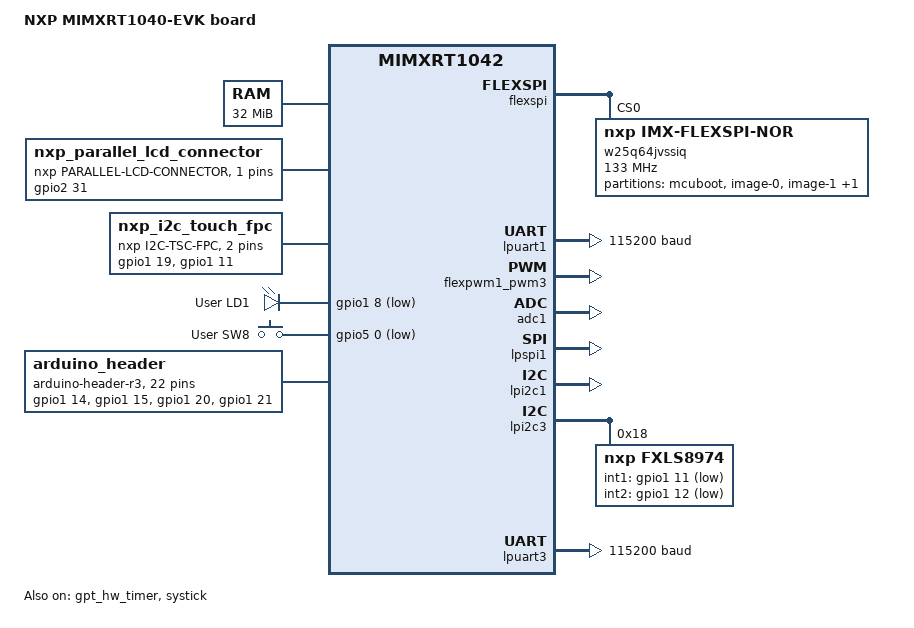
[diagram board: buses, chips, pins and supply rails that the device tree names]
/*
 * Copyright 2023 NXP
 *
 * SPDX-License-Identifier: Apache-2.0
 */

/dts-v1/;

#include <nxp/nxp_rt1040.dtsi>
#include "mimxrt1040_evk-pinctrl.dtsi"
#include <zephyr/dt-bindings/input/input-event-codes.h>

/ {
	model = "NXP MIMXRT1040-EVK board";
	compatible = "nxp,mimxrt1042";

	aliases {
		led0 = &green_led;
		sw0 = &user_button;
		pwm-0 = &flexpwm1_pwm3;
	};

	chosen {
		zephyr,sram = &sdram0;
		zephyr,itcm = &itcm;
		zephyr,dtcm = &dtcm;
		zephyr,console = &lpuart1;
		zephyr,shell-uart = &lpuart1;
		zephyr,flash = &w25q64jvssiq;
		zephyr,flash-controller = &w25q64jvssiq;
		zephyr,code-partition = &slot0_partition;
		zephyr,bt-hci = &bt_hci_uart;
	};

	sdram0: memory@80000000 {
		/* Winbond W9825G6KH SDRAM */
		device_type = "memory";
		reg = <0x80000000 DT_SIZE_M(32)>;
	};

	/*
	 * This node describes the GPIO pins of the parallel FPC interface,
	 * This interface is standard to several NXP EVKs, and is used with
	 * several parallel LCD displays (available as zephyr shields)
	 */
	nxp_parallel_lcd_connector: parallel-connector {
		compatible = "nxp,parallel-lcd-connector";
		#gpio-cells = <2>;
		gpio-map-mask = <0xffffffff 0xffffffc0>;
		gpio-map-pass-thru = <0 0x3f>;
		gpio-map =	<0  0 &gpio2 31 0>;	/* Pin 1, BL+ */
	};

	/*
	 * This node describes the GPIO pins of the I2C display FPC interface,
	 * This interface is standard to several NXP EVKs, and is used with
	 * several parallel LCD displays (available as zephyr shields)
	 */
	nxp_i2c_touch_fpc: i2c-touch-connector {
		compatible = "nxp,i2c-tsc-fpc";
		#gpio-cells = <2>;
		gpio-map-mask = <0xffffffff 0xffffffc0>;
		gpio-map-pass-thru = <0 0x3f>;
		gpio-map =	<1  0 &gpio1 19 0>,	/* Pin 2, LCD touch RST */
				<2  0 &gpio1 11 0>;	/* Pin 3, LCD touch INT */
	};

	leds {
		compatible = "gpio-leds";
		green_led: led_0 {
			gpios = <&gpio1 8 GPIO_ACTIVE_LOW>;
			label = "User LD1";
		};
	};

	gpio_keys {
		compatible = "gpio-keys";
		user_button: button_0 {
			label = "User SW8";
			gpios = <&gpio5 0 (GPIO_PULL_UP | GPIO_ACTIVE_LOW)>;
			zephyr,code = <INPUT_KEY_0>;
		};
	};

	arduino_header: connector {
		compatible = "arduino-header-r3";
		#gpio-cells = <2>;
		gpio-map-mask = <0xffffffff 0xffffffc0>;
		gpio-map-pass-thru = <0 0x3f>;
		gpio-map = <0 0 &gpio1 14 0>,	/* A0 */
			   <1 0 &gpio1 15 0>,	/* A1 */
			   <2 0 &gpio1 20 0>,	/* A2 */
			   <3 0 &gpio1 21 0>,	/* A3 */
			   <4 0 &gpio1 22 0>,	/* A4 */
			   <5 0 &gpio1 23 0>,	/* A5 */
			   <6 0 &gpio3 1 0>,	/* D0 */
			   <7 0 &gpio3 0 0>,	/* D1 */
			   <8 0 &gpio1 11 0>,	/* D2 */
			   <9 0 &gpio3 2 0>,	/* D3 */
			   <10 0 &gpio1 9 0>,	/* D4 */
			   <11 0 &gpio1 10 0>,	/* D5 */
			   <12 0 &gpio1 18 0>,	/* D6 */
			   <13 0 &gpio1 19 0>,	/* D7 */
			   <14 0 &gpio2 30 0>,	/* D8 */
			   <15 0 &gpio2 31 0>,	/* D9 */
			   <16 0 &gpio3 13 0>,	/* D10 */
			   <17 0 &gpio3 14 0>,	/* D11 */
			   <18 0 &gpio3 15 0>,	/* D12 */
			   <19 0 &gpio3 12 0>,	/* D13 */
			   <20 0 &gpio1 17 0>,	/* D14 */
			   <21 0 &gpio1 16 0>;	/* D15 */
	};
};

&flexspi {
	status = "okay";
	reg = <0x402a8000 0x4000>, <0x60000000 DT_SIZE_M(8)>;
	/* Winbond external flash */
	w25q64jvssiq: w25q64jvssiq@0 {
		compatible = "nxp,imx-flexspi-nor";
		size = <(DT_SIZE_M(8) * 8)>;
		reg = <0>;
		spi-max-frequency = <133000000>;
		status = "okay";
		jedec-id = [ef 40 17];
		erase-block-size = <4096>;
		write-block-size = <1>;
		partitions {
			compatible = "fixed-partitions";
			#address-cells = <1>;
			#size-cells = <1>;
			boot_partition: partition@0 {
				label = "mcuboot";
				reg = <0x00000000 DT_SIZE_K(128)>;
			};
			/* The MCUBoot swap-move algorithm uses the last 2 sectors
			 * of the primary slot0 for swap status and move.
			 */
			slot0_partition: partition@20000 {
				label = "image-0";
				reg = <0x00020000 (DT_SIZE_M(3) + DT_SIZE_K(8))>;
			};
			slot1_partition: partition@322000 {
				label = "image-1";
				reg = <0x00322000 DT_SIZE_M(3)>;
			};
			storage_partition: partition@622000 {
				label = "storage";
				reg = <0x00622000 (DT_SIZE_M(2) - DT_SIZE_K(136))>;
			};
		};
	};
};

&lpuart1 {
	status = "okay";
	current-speed = <115200>;
	pinctrl-0 = <&pinmux_lpuart1>;
	pinctrl-1 = <&pinmux_lpuart1_sleep>;
	pinctrl-names = "default", "sleep";
};

&flexpwm1_pwm3 {
	status = "okay";
	pinctrl-0 = <&pinmux_flexpwm1_pwm3>;
	pinctrl-names = "default";
};

&adc1 {
	status = "okay";
	pinctrl-0 = <&pinmux_adc1>;
	pinctrl-names = "default";
};

&lpspi1 {
	status = "okay";
	/* DMA channels 0 and 1, muxed to LPSPI1 RX and TX */
	dmas = <&edma0 0 13>, <&edma0 1 14>;
	dma-names = "rx", "tx";
	pinctrl-0 = <&pinmux_lpspi1>;
	pinctrl-names = "default";
};

&edma0 {
	status = "okay";
};

&lpi2c1 {
	status = "okay";
	pinctrl-0 = <&pinmux_lpi2c1>;
	pinctrl-names = "default";
};

nxp_touch_i2c: &lpi2c1 {};

zephyr_lcdif: &lcdif {
	pinctrl-0 = <&pinmux_lcdif>;
	pinctrl-names = "default";
};

lpi2c3: &lpi2c3 {
	pinctrl-0 = <&pinmux_lpi2c3>;
	pinctrl-names = "default";
	status = "okay";

	fxls8974: fxls8974@18 {
		compatible = "nxp,fxls8974";
		reg = <0x18>;
		status = "okay";

		/* Two zero ohm resistors (R115 and R122) isolate sensor
		 * interrupt gpios from the soc and are unpopulated by default.
		 * Note that if you populate them, they conflict with JTAG_TDO and
		 * ethernet PHY interrupt signals.
		 */
		int1-gpios = <&gpio1 11 GPIO_ACTIVE_LOW>;
		int2-gpios = <&gpio1 12 GPIO_ACTIVE_LOW>;
	};
};

/* GPT and Systick are enabled. If power management is enabled, the GPT
 * timer will be used instead of systick, as allows the core clock to
 * be gated.
 */
&gpt_hw_timer {
	status = "okay";
};

&systick {
	status = "okay";
};

m2_hci_uart: &lpuart3 {
	pinctrl-0 = <&pinmux_lpuart3_flowcontrol>;
	pinctrl-1 = <&pinmux_lpuart3_sleep>;
	pinctrl-names = "default", "sleep";

	bt_hci_uart: bt_hci_uart {
		compatible = "zephyr,bt-hci-uart";

		m2_bt_module {
			compatible = "nxp,bt-hci-uart";
			sdio-reset-gpios = <&gpio3 4 GPIO_ACTIVE_HIGH>;
			w-disable-gpios = <&gpio3 2 GPIO_ACTIVE_HIGH>;
			hci-operation-speed = <115200>;
			hw-flow-control;
			fw-download-primary-speed = <115200>;
			fw-download-secondary-speed = <3000000>;
			fw-download-secondary-flowcontrol;
		};
	};
};

&m2_hci_uart {
	status = "okay";
	current-speed = <115200>;
};
